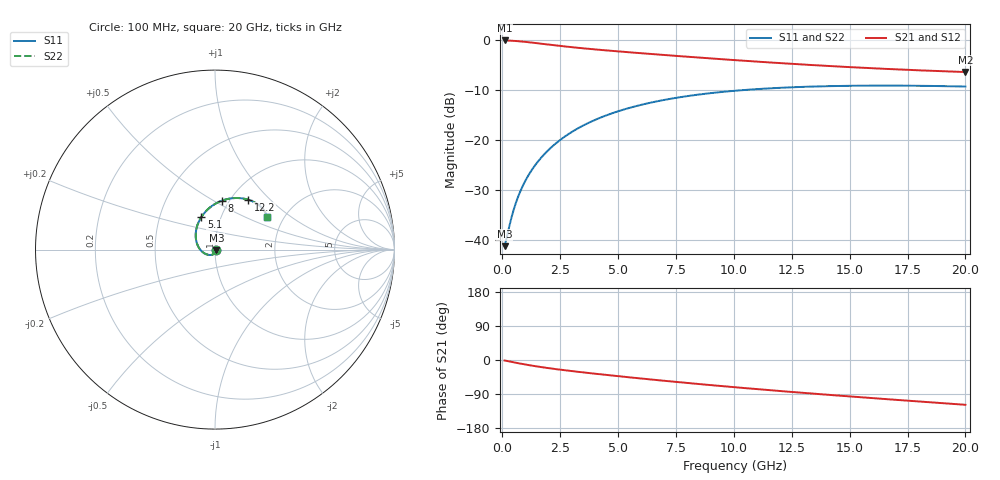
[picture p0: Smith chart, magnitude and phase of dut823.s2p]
! Touchstone file exported from HFSS 2024.1.0
!  File:  C:/UserFiles/LocalFiles/RDL_TSV_Batchsim/temp_RDL_TSV_823_1779915915.aedt
!  Generated:  05:23:08 AM May 28, 2026
!  Design:  RDL_TSV
!  Project:  temp_RDL_TSV_823_1779915915
!  Setup:  Setup1
!  Solution:  Sweep
! Variables:
!  dtsv = 10.8um
!  hbump = 3um
!  htsv = 81.91um
!  ldown = 225.51um
!  lrdl = 162.21um
!  p = 40
!  p1 = 59.29um
!  rhole = 10um
!  subl = 1325.37um
!  t = 450um
!  tdown = 2.21um
!  trdl = 3.59um
!  viad = 10um
!  wdown = 29.32um
!  wrdl = 20.55um
!  xbump = 18um
# GHz S MA R 50.000000
! Terminal data exported
! Port[1] = TM1_1_T1
! Port[2] = TM1_4_T1
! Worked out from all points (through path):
!   200 points, 100 MHz to 20 GHz, reference 50 ohm
!   highest |S21| = -0.07 dB at 100 MHz (marker M1); lowest = -6.4 dB at 20 GHz (marker M2)
!   group delay of S21, straight-line fit = 15.3 ps
!   lowest |S11| = -41.3 dB at 100 MHz (marker M3), VSWR 1.02, Z = 50.8 - j0.427 ohm
!   |S11| at or under -10 dB: start of sweep to 10.45 GHz
!   |S22| runs from -41.3 to -9.1 dB; largest |S21 - S12| = 1.9e-13
!   S11 on the Smith chart (normalised r, x): 100 MHz: 1.02, -0.01; 5.1 GHz: 0.81, +0.30; 8 GHz: 0.92, +0.54; 12.2 GHz: 1.20, +0.75; 20 GHz: 1.65, +0.68
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0.1  0.00861 -29.3  0.9917 -1.3  0.9917 -1.3  0.00861 -29.3
! Gamma 0 0 0 0
! Port Impedance 50 0 50 0
0.4  0.01677 -81.8  0.9857 -5.0  0.9857 -5.0  0.01677 -81.8
0.5  0.02025 -92.3  0.9825 -6.3  0.9825 -6.3  0.02025 -92.3
0.6  0.02387 -101.4  0.9787 -7.4  0.9787 -7.4  0.02387 -101.4
0.7  0.02758 -109.4  0.9746 -8.6  0.9746 -8.6  0.02758 -109.4
0.9  0.03521 -123.5  0.9651 -10.9  0.9651 -10.9  0.03521 -123.5
1.2  0.04699 -141.3  0.9488 -14.1  0.9488 -14.1  0.047 -141.3
1.4  0.05501 -151.6  0.9372 -16.1  0.9372 -16.1  0.05501 -151.6
1.7  0.06719 -165.3  0.9194 -18.9  0.9194 -18.9  0.06719 -165.3
2.2  0.08765 175.5  0.8904 -23.2  0.8904 -23.2  0.08766 175.5
2.8  0.112 157.2  0.8589 -27.8  0.8589 -27.8  0.112 157.2
3.5  0.1396 140.3  0.8269 -32.8  0.8269 -32.8  0.1396 140.3
4.3  0.1693 125.0  0.7954 -38.1  0.7954 -38.1  0.1693 125.0
5.1  0.1967 112.8  0.7673 -43.3  0.7673 -43.3  0.1968 112.8
5.9  0.2217 102.6  0.7416 -48.3  0.7416 -48.3  0.2217 102.6
6.8  0.2466 92.9  0.7146 -53.7  0.7146 -53.7  0.2467 92.9
8  0.2749 82.1  0.6811 -60.7  0.6811 -60.7  0.2749 82.1
10.1  0.3115 67.4  0.6286 -72.2  0.6286 -72.2  0.3116 67.4
12.2  0.3343 56.1  0.584 -82.9  0.584 -82.9  0.3344 56.1
13.4  0.3423 50.8  0.5619 -88.7  0.5619 -88.7  0.3424 50.8
16.7  0.3499 39.5  0.513 -103.8  0.513 -103.8  0.35 39.5
20  0.3425 31.9  0.4786 -118.2  0.4786 -118.2  0.3426 31.9
